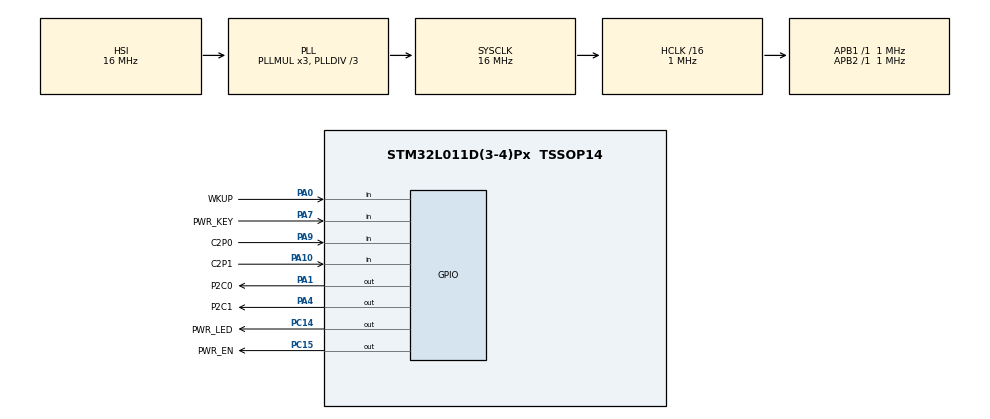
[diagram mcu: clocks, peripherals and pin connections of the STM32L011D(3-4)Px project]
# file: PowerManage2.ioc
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Mcu.Family=STM32L0
Mcu.Name=STM32L011D(3-4)Px
Mcu.Package=TSSOP14
PA0-CK_IN.GPIO_Label=WKUP
PA0-CK_IN.GPIO_PuPd=GPIO_PULLDOWN
PA0-CK_IN.Signal=GPIO_Input
PA1.GPIO_Label=P2C0
PA1.GPIO_PuPd=GPIO_PULLDOWN
PA1.GPIO_Speed=GPIO_SPEED_FREQ_LOW
PA1.Signal=GPIO_Output
PA10.GPIO_Label=C2P1
PA10.GPIO_PuPd=GPIO_PULLUP
PA10.Signal=GPIO_Input
PA13.Mode=Serial_Wire
PA13.Signal=SYS_SWDIO
PA14.Mode=Serial_Wire
PA14.Signal=SYS_SWCLK
PA4.GPIO_Label=P2C1
PA4.Signal=GPIO_Output
PA7.GPIO_Label=PWR_KEY
PA7.Signal=GPIO_Input
PA9.GPIO_Label=C2P0
PA9.GPIO_PuPd=GPIO_PULLUP
PA9.Signal=GPIO_Input
PC14-OSC32_IN.GPIO_Label=PWR_LED
PC14-OSC32_IN.GPIO_PuPd=GPIO_PULLUP
PC14-OSC32_IN.Signal=GPIO_Output
PC15-OSC32_OUT.GPIO_Label=PWR_EN
PC15-OSC32_OUT.GPIO_ModeDefaultOutputPP=GPIO_MODE_OUTPUT_OD
PC15-OSC32_OUT.GPIO_PuPd=GPIO_PULLUP
PC15-OSC32_OUT.PinState=GPIO_PIN_SET
PC15-OSC32_OUT.Signal=GPIO_Output
ProjectManager.HeapSize=0x200
ProjectManager.StackSize=0x400
ProjectManager.TargetToolchain=MDK-ARM V5.32
RCC.AHBCLKDivider=RCC_SYSCLK_DIV16
RCC.AHBFreq_Value=1000000
RCC.APB1Freq_Value=1000000
RCC.APB1TimFreq_Value=1000000
RCC.APB2Freq_Value=1000000
RCC.APB2TimFreq_Value=1000000
RCC.HCLKFreq_Value=1000000
RCC.HSE_VALUE=8000000
RCC.HSI16_VALUE=16000000
RCC.HSI_VALUE=16000000
RCC.LSE_VALUE=32768
RCC.MSIClockRange=RCC_MSIRANGE_6
RCC.MSI_VALUE=4194000
RCC.PLLDIV=RCC_PLLDIV_3
RCC.SYSCLKFreq_VALUE=16000000
RCC.SYSCLKSource=RCC_SYSCLKSOURCE_PLLCLK
RCC.VCOOutputFreq_Value=48000000
board=custom

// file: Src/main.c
/* USER CODE BEGIN Header */
/**
  ******************************************************************************
  * @file           : main.c
  * @brief          : Main program body
  ******************************************************************************
  * @attention
  *
  * Copyright (c) 2025 STMicroelectronics.
  * All rights reserved.
  *
  * This software is licensed under terms that can be found in the LICENSE file
  * in the root directory of this software component.
  * If no LICENSE file comes with this software, it is provided AS-IS.
  *
  ******************************************************************************
  */
/* USER CODE END Header */
#include "main.h"
#include "gpio.h"

void SystemClock_Config(void);

int main(void)
{

  /* USER CODE BEGIN 1 */
	volatile uint8_t a = 0;
  GPIO_PinState pwr_pin_val = GPIO_PIN_SET;
	GPIO_PinState wkup_val;
  uint32_t PressTime = 0;
  uint32_t LED_START_TIME = 0;
  uint32_t nTick = 0;
  HAL_GPIO_WritePin(PWR_LED_GPIO_Port, PWR_LED_Pin, GPIO_PIN_SET);
  /* USER CODE END 1 */

  /* MCU Configuration--------------------------------------------------------*/

  /* Reset of all peripherals, Initializes the Flash interface and the Systick. */
  HAL_Init();

  /* Configure the system clock */
  SystemClock_Config();

  /* Initialize all configured peripherals */
  MX_GPIO_Init();
  /* USER CODE BEGIN 2 */
	__enable_irq();
  /* USER CODE END 2 */

  /* Infinite loop */
  /* USER CODE BEGIN WHILE */
  pwr_pin_val = GPIO_PIN_SET;
  HAL_GPIO_WritePin(PWR_EN_GPIO_Port, PWR_EN_Pin, pwr_pin_val); // keep the master power low
  HAL_GPIO_WritePin(PWR_LED_GPIO_Port, PWR_LED_Pin, GPIO_PIN_RESET); // keep the master power low
	nTick = HAL_GetTick();
	HAL_Delay(PWR_UP_DELAY);
  while (1)
  {
    /* USER CODE END WHILE */

    /* USER CODE BEGIN 3 */
    nTick = HAL_GetTick();

		wkup_val = HAL_GPIO_ReadPin(WKUP_GPIO_Port, WKUP_Pin);
		HAL_GPIO_WritePin(PWR_EN_GPIO_Port, PWR_EN_Pin, pwr_pin_val);

    /* Start of pwr led control*/
    if ((LED_START_TIME == 0 && nTick < LED_PWRUP_DUR) || (nTick - LED_START_TIME < LED_USR_DUR)){
      HAL_GPIO_WritePin(PWR_LED_GPIO_Port, PWR_LED_Pin, GPIO_PIN_RESET);
    }
    else {
      HAL_GPIO_WritePin(PWR_LED_GPIO_Port, PWR_LED_Pin, GPIO_PIN_SET);
    }

    // If usr pin is not pressed or master controller demands power hold, then leave the settings unchanged
    if (wkup_val == GPIO_PIN_RESET || HAL_GPIO_ReadPin(C2P0_GPIO_Port, C2P0_Pin) == GPIO_PIN_RESET)
    {
      PressTime = 0;
      continue;
    }

    // usr pin press start
    if (PressTime == 0)
    {
      PressTime = nTick;
      continue;
    }

    // if usr pin is not pressed long enough
    if (nTick - PressTime < PRESS_HOLD_TIME || PressTime==0xffffffffU)
    {
      continue;
    }
    PressTime = 0xffffffffU;  // ensures no reentrancy

    LED_START_TIME = nTick;
    // state change
    if (pwr_pin_val == GPIO_PIN_SET){
      pwr_pin_val = GPIO_PIN_RESET;
    }
    else{
      pwr_pin_val = GPIO_PIN_SET;
    }

  }
  /* USER CODE END 3 */
}

void SystemClock_Config(void)
{
  RCC_OscInitTypeDef RCC_OscInitStruct = {0};
  RCC_ClkInitTypeDef RCC_ClkInitStruct = {0};

  /** Configure the main internal regulator output voltage
  */
  __HAL_PWR_VOLTAGESCALING_CONFIG(PWR_REGULATOR_VOLTAGE_SCALE1);

  /** Initializes the RCC Oscillators according to the specified parameters
  * in the RCC_OscInitTypeDef structure.
  */
  RCC_OscInitStruct.OscillatorType = RCC_OSCILLATORTYPE_HSI;
  RCC_OscInitStruct.HSIState = RCC_HSI_ON;
  RCC_OscInitStruct.HSICalibrationValue = RCC_HSICALIBRATION_DEFAULT;
  RCC_OscInitStruct.PLL.PLLState = RCC_PLL_ON;
  RCC_OscInitStruct.PLL.PLLSource = RCC_PLLSOURCE_HSI;
  RCC_OscInitStruct.PLL.PLLMUL = RCC_PLLMUL_3;
  RCC_OscInitStruct.PLL.PLLDIV = RCC_PLLDIV_3;
  if (HAL_RCC_OscConfig(&RCC_OscInitStruct) != HAL_OK)
  {
    Error_Handler();
  }

  /** Initializes the CPU, AHB and APB buses clocks
  */
  RCC_ClkInitStruct.ClockType = RCC_CLOCKTYPE_HCLK|RCC_CLOCKTYPE_SYSCLK
                              |RCC_CLOCKTYPE_PCLK1|RCC_CLOCKTYPE_PCLK2;
  RCC_ClkInitStruct.SYSCLKSource = RCC_SYSCLKSOURCE_PLLCLK;
  RCC_ClkInitStruct.AHBCLKDivider = RCC_SYSCLK_DIV16;
  RCC_ClkInitStruct.APB1CLKDivider = RCC_HCLK_DIV1;
  RCC_ClkInitStruct.APB2CLKDivider = RCC_HCLK_DIV1;

  if (HAL_RCC_ClockConfig(&RCC_ClkInitStruct, FLASH_LATENCY_0) != HAL_OK)
  {
    Error_Handler();
  }
}

void Error_Handler(void)
{
  __disable_irq();
  while (1)
  {
  }
}
